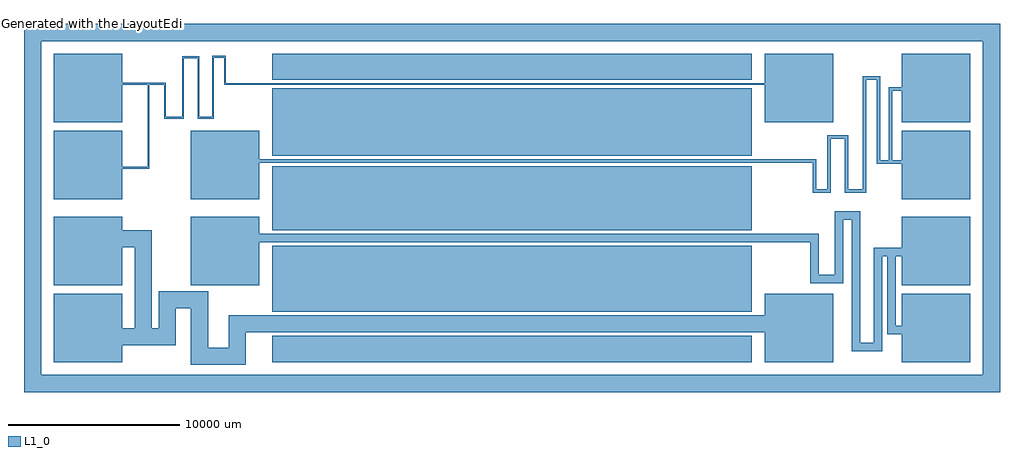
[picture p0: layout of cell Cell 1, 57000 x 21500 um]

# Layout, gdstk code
import gdstk
lib = gdstk.Library(unit=1e-6, precision=1e-09)
def R(c, l, rs):  # rectangles x0, y0, x1, y1
    for r in rs: c.add(gdstk.rectangle(r[:2], r[2:], *l))
def P(c, l, *ps):  # polygons
    for p in ps: c.add(gdstk.Polygon(p, *l))
L1_0 = (1, 0)

cell_1 = lib.new_cell('Cell 1')
R(cell_1, L1_0, [(-14000,-38250,14000,-36700), (-14000,-35300,14000,-31450), (-14000,-30550,14000,-26800), (-14000,-26200,14000,-22250), (-14000,-21750,14000,-20250)])
P(cell_1, L1_0, [(28500,-18500),(-27500,-18500),(-27500,-19500),(27500,-19500),(27500,-39000),(-27500,-39000),(-27500,-18500),(-28500,-18500),(-28500,-40000),(28500,-40000)],
  [(-22750,-29750),(-26750,-29750),(-26750,-33750),(-22750,-33750),(-22750,-31544.849),(-22041.288,-31544.849),(-22041.288,-36259.844),(-22750,-36259.844),(-22750,-34250),(-26750,-34250),(-26750,-38250),(-22750,-38250),(-22750,-37259.844),(-19633.284,-37259.844),(-19633.284,-35110.364),(-18748.808,-35110.364),(-18748.808,-38408.197),(-15540.438,-38408.197),(-15540.438,-36500),(14750,-36500),(14750,-38250),(18750,-38250),(18750,-34250),(14750,-34250),(14750,-35500),(-16540.438,-35500),(-16540.438,-37408.197),(-17748.808,-37408.197),(-17748.808,-34110.364),(-20633.284,-34110.364),(-20633.284,-36259.844),(-21041.288,-36259.844),(-21041.288,-30544.849),(-22750,-30544.849)],
  [(20336.488,-29433.024),(18846.068,-29433.024),(18846.068,-33153.793),(17927.357,-33153.793),(17927.357,-30750),(-14750,-30750),(-14750,-29750),(-18750,-29750),(-18750,-33750),(-14750,-33750),(-14750,-31250),(17427.357,-31250),(17427.357,-33653.793),(19346.068,-33653.793),(19346.068,-29933.024),(19836.488,-29933.024),(19836.488,-37615.476),(21621.358,-37615.476),(21621.358,-32074.474),(21924.402,-32074.474),(21924.402,-36625.055),(22750,-36625.055),(22750,-38250),(26750,-38250),(26750,-34250),(22750,-34250),(22750,-36125.055),(22424.402,-36125.055),(22424.402,-32074.474),(22750,-32074.474),(22750,-33750),(26750,-33750),(26750,-29750),(22750,-29750),(22750,-31574.474),(21121.358,-31574.474),(21121.358,-37115.476),(20336.488,-37115.476)],
  [(26750,-20250),(22750,-20250),(22750,-22203.954),(22016.404,-22203.954),(22016.404,-26460.086),(21493.664,-26460.086),(21493.664,-21561.519),(20490.621,-21561.519),(20490.621,-28146.478),(19646.664,-28146.478),(19646.664,-25014.607),(18402.707,-25014.607),(18402.707,-28146.478),(17759.511,-28146.478),(17759.511,-26400),(-14750,-26400),(-14750,-24750),(-18750,-24750),(-18750,-28750),(-14750,-28750),(-14750,-26600),(17559.511,-26600),(17559.511,-28346.478),(18602.707,-28346.478),(18602.707,-25214.607),(19446.664,-25214.607),(19446.664,-28346.478),(20690.621,-28346.478),(20690.621,-21761.519),(21293.664,-21761.519),(21293.664,-26660.086),(22750,-26660.086),(22750,-28750),(26750,-28750),(26750,-24750),(22750,-24750),(22750,-26460.086),(22216.404,-26460.086),(22216.404,-22403.954),(22750,-22403.954),(22750,-24250),(26750,-24250)],
  [(18750,-20250),(14750,-20250),(14750,-21950),(-16709.809,-21950),(-16709.809,-20369.58),(-17505.781,-20369.58),(-17505.781,-23929.741),(-18262.361,-23929.741),(-18262.361,-20396.348),(-19272.477,-20396.348),(-19272.477,-23929.741),(-20216.434,-23929.741),(-20216.434,-21948.899),(-22750,-21948.899),(-22750,-20250),(-26750,-20250),(-26750,-24250),(-22750,-24250),(-22750,-22048.899),(-21280.086,-22048.899),(-21280.086,-26847.466),(-22750,-26847.466),(-22750,-24750),(-26750,-24750),(-26750,-28750),(-22750,-28750),(-22750,-26947.466),(-21180.086,-26947.466),(-21180.086,-22048.899),(-20316.434,-22048.899),(-20316.434,-24029.741),(-19172.477,-24029.741),(-19172.477,-20496.348),(-18362.361,-20496.348),(-18362.361,-24029.741),(-17405.781,-24029.741),(-17405.781,-20469.58),(-16809.809,-20469.58),(-16809.809,-22050),(14750,-22050),(14750,-24250),(18750,-24250)])
cell_1.add(gdstk.Label('Generated with the LayoutEditor (This message will NOT added in any commercial version of the LayoutEditor.)', (-28500,-18500), layer=1, texttype=13476))
cell_1.add(gdstk.Label('Generated with the LayoutEditor (This message will NOT added in any commercial version of the LayoutEditor.)', (-28500,-18500), layer=1, texttype=13476))
cell_1.add(gdstk.Label('Generated with the LayoutEditor (This message will NOT added in any commercial version of the LayoutEditor.)', (-28500,-18500), layer=1, texttype=13476))
cell_1.add(gdstk.Label('Generated with the LayoutEditor (This message will NOT added in any commercial version of the LayoutEditor.)', (-28500,-18500), layer=1, texttype=13476))

lib.write_gds('Cell_1.gds')
